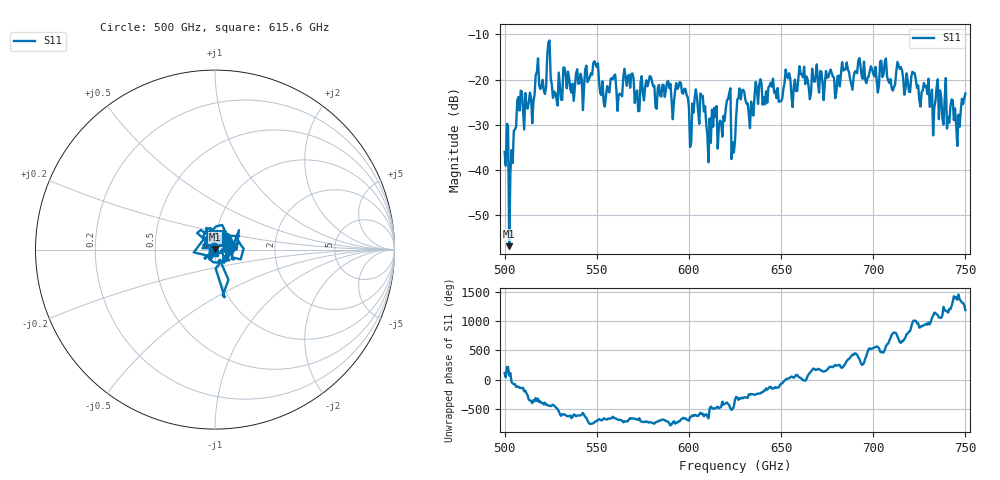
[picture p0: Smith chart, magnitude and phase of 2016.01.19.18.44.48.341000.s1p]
!Created with skrf (http://scikit-rf.org).
# GHz S RI R 50.0
!freq ReS11 ImS11
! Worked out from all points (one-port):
!   401 points, 500 GHz to 750 GHz, reference 50 ohm
!   lowest |S11| = -57.0 dB at 502.5 GHz (marker M1), VSWR 1.00, Z = 50 + j0.136 ohm
!   |S11| at or under -10 dB: start of sweep to end of sweep
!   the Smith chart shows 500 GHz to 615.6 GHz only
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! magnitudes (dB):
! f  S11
! 500 GHz  -36.0
! 502.5 GHz  -57.0
! 503.8 GHz  -35.6
! 508.1 GHz  -26.9
! 521.2 GHz  -22.4
! 524.4 GHz  -11.3
! 527.5 GHz  -23.0
! 531.2 GHz  -24.5
! 549.4 GHz  -16.6
! 553.1 GHz  -20.4
! 558.8 GHz  -19.9
! 562.5 GHz  -23.1
! 566.2 GHz  -21.4
! 571.9 GHz  -22.4
! 593.8 GHz  -22.1
! 601.2 GHz  -33.9
! 607.5 GHz  -23.6
! 610.6 GHz  -38.4
! 621.2 GHz  -24.3
! 625 GHz  -33.7
! 628.8 GHz  -22.5
! 633.8 GHz  -24.9
! 637.5 GHz  -25.4
! 656.2 GHz  -26.1
! 687.5 GHz  -20.0
! 718.8 GHz  -20.4
! 746.2 GHz  -27.8
! 750 GHz  -23.1
